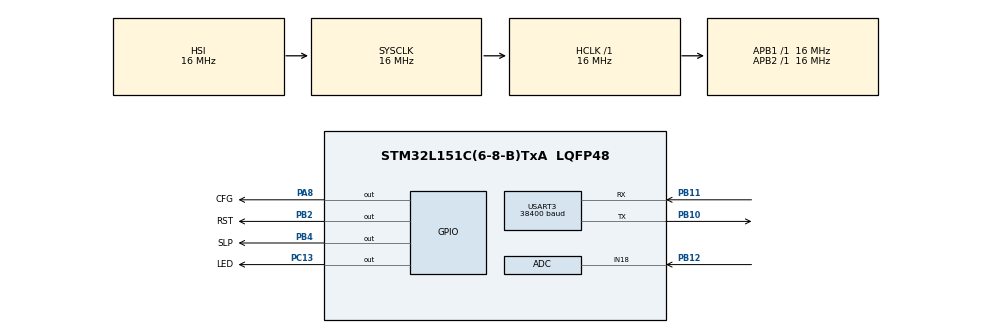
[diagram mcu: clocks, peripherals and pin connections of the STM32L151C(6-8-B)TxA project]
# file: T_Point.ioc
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ADC.Channel-0\#ChannelRegularConversion=ADC_CHANNEL_18
ADC.EOCSelection=ADC_EOC_SINGLE_CONV
ADC.NbrOfConversionFlag=1
ADC.Rank-0\#ChannelRegularConversion=1
ADC.SamplingTime-0\#ChannelRegularConversion=ADC_SAMPLETIME_384CYCLES
Dma.Request0=USART3_RX
Dma.Request1=USART3_TX
Dma.USART3_RX.0.Direction=DMA_PERIPH_TO_MEMORY
Dma.USART3_RX.0.Instance=DMA1_Channel3
Dma.USART3_RX.0.MemDataAlignment=DMA_MDATAALIGN_BYTE
Dma.USART3_RX.0.MemInc=DMA_MINC_ENABLE
Dma.USART3_RX.0.Mode=DMA_NORMAL
Dma.USART3_RX.0.PeriphDataAlignment=DMA_PDATAALIGN_BYTE
Dma.USART3_RX.0.PeriphInc=DMA_PINC_DISABLE
Dma.USART3_RX.0.Priority=DMA_PRIORITY_LOW
Dma.USART3_TX.1.Direction=DMA_MEMORY_TO_PERIPH
Dma.USART3_TX.1.Instance=DMA1_Channel2
Dma.USART3_TX.1.MemDataAlignment=DMA_MDATAALIGN_BYTE
Dma.USART3_TX.1.MemInc=DMA_MINC_ENABLE
Dma.USART3_TX.1.Mode=DMA_NORMAL
Dma.USART3_TX.1.PeriphDataAlignment=DMA_PDATAALIGN_BYTE
Dma.USART3_TX.1.PeriphInc=DMA_PINC_DISABLE
Dma.USART3_TX.1.Priority=DMA_PRIORITY_LOW
Mcu.Family=STM32L1
Mcu.Name=STM32L151C(6-8-B)TxA
Mcu.Package=LQFP48
NVIC.DMA1_Channel2_IRQn=true\:13\:0\:true\:false\:true\:false\:true\:true
NVIC.DMA1_Channel3_IRQn=true\:14\:0\:true\:false\:true\:false\:true\:true
NVIC.PriorityGroup=NVIC_PRIORITYGROUP_4
NVIC.RTC_WKUP_IRQn=true\:15\:0\:true\:false\:true\:true\:true\:true
NVIC.USART3_IRQn=true\:10\:0\:true\:false\:true\:false\:true\:true
PA13.Mode=Serial_Wire
PA13.Signal=SYS_JTMS-SWDIO
PA14.Mode=Serial_Wire
PA14.Signal=SYS_JTCK-SWCLK
PA8.GPIO_Label=CFG
PA8.PinState=GPIO_PIN_SET
PA8.Signal=GPIO_Output
PB10.Mode=Asynchronous
PB10.Signal=USART3_TX
PB11.Mode=Asynchronous
PB11.Signal=USART3_RX
PB12.Mode=IN18
PB12.Signal=ADC_IN18
PB2.GPIO_Label=RST
PB2.PinState=GPIO_PIN_RESET
PB2.Signal=GPIO_Output
PB4.GPIO_Label=SLP
PB4.PinState=GPIO_PIN_SET
PB4.Signal=GPIO_Output
PC13-WKUP2.GPIO_Label=LED
PC13-WKUP2.GPIO_ModeDefaultOutputPP=GPIO_MODE_OUTPUT_OD
PC13-WKUP2.GPIO_PuPd=GPIO_NOPULL
PC13-WKUP2.PinState=GPIO_PIN_RESET
PC13-WKUP2.Signal=GPIO_Output
PC14-OSC32_IN.Mode=LSE-External-Oscillator
PC14-OSC32_IN.Signal=RCC_OSC32_IN
PC15-OSC32_OUT.Mode=LSE-External-Oscillator
PC15-OSC32_OUT.Signal=RCC_OSC32_OUT
ProjectManager.HeapSize=0x200
ProjectManager.StackSize=0x400
ProjectManager.TargetToolchain=MDK-ARM V5.32
RCC.AHBFreq_Value=16000000
RCC.APB1Freq_Value=16000000
RCC.APB1TimFreq_Value=16000000
RCC.APB2Freq_Value=16000000
RCC.APB2TimFreq_Value=16000000
RCC.HCLKFreq_Value=16000000
RCC.HSE_VALUE=24000000
RCC.HSI_VALUE=16000000
RCC.MSI_VALUE=2097000
RCC.RTCClockSelection=RCC_RTCCLKSOURCE_LSE
RCC.RTCClockSelectionVirtual=RCC_RTCCLKSOURCE_LSE
RCC.SYSCLKFreq_VALUE=16000000
RCC.SYSCLKSource=RCC_SYSCLKSOURCE_HSI
RCC.VCOOutputFreq_Value=48000000
RTC.WakeUpClock-WakeUp=RTC_WAKEUPCLOCK_CK_SPRE_16BITS
RTC.WakeUpCounter-WakeUp=9
USART3.BaudRate=38400
USART3.VirtualMode=VM_ASYNC
VP_RTC_VS_RTC_Activate.Mode=RTC_Enabled
VP_RTC_VS_RTC_WakeUp_intern.Mode=WakeUp
board=custom

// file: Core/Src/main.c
/* USER CODE BEGIN Header */
/**
  ******************************************************************************
  * @file           : main.c
  * @brief          : Main program body
  ******************************************************************************
  * @attention
  *
  * Copyright (c) 2026 STMicroelectronics.
  * All rights reserved.
  *
  * This software is licensed under terms that can be found in the LICENSE file
  * in the root directory of this software component.
  * If no LICENSE file comes with this software, it is provided AS-IS.
  *
  ******************************************************************************
  */
/* USER CODE END Header */
#include "main.h"
#include "adc.h"
#include "dma.h"
#include "rtc.h"
#include "usart.h"
#include "gpio.h"

/* USER CODE BEGIN Includes */
#include "stop.h"
#include "zigbee.h"
/* USER CODE END Includes */

/* USER CODE BEGIN PD */
#define len 4
#define len_data 24
#define noDATA 0x10
#define sendDATA 0x11
#define lowPower 0x10
#define normal 0x11
/* USER CODE END PD */

/* USER CODE BEGIN PV */
//volatile uint16_t ADC_cnt=0;
//volatile uint16_t ADC_val=0;
uint8_t work_mode=normal;//0x10-lowpower,0x11-normal,swith by order
uint8_t work_data=sendDATA;
uint16_t Vbat=0;
uint32_t CNTsend=0;
//uint8_t buf_packLoader[4];
uint8_t buf_CMD[len]={0};
uint16_t CRC_res=0;
volatile uint8_t flag_CMD=RESET;
//0x24-帧头帧尾，work_data:0x10不需要数据包0x11需要，work_mode:0x10低功耗模式0x11正常工作
uint8_t heart_beat[len]={0x24,0x10,0x10,0x24};
uint8_t Data_pack[len_data]={
	netID | netPoint, pointADD,//节点地址
	0xFB,0xFB,0xFC,0xFC,//数据帧头
	0x01,
	0x00,0x00,//电池电量，电池电压mV
	0x01,
	0x00,0x00,0x00,0x00,//发送次数
	0x01,0x02,0x03,0x04,
	0x00,0x00,//CRC校验
	0xFE,0xFE,0xFF,0xFF//数据帧尾
};
uint8_t Send_pack[len_data];
/* USER CODE END PV */

void SystemClock_Config(void);
/* USER CODE BEGIN PFP */
void u16MOVu8(uint32_t data, uint8_t *pack, uint8_t pos);
void u32MOVu8(uint32_t data, uint8_t *pack, uint8_t pos);
/* USER CODE END PFP */

int main(void)
{

  /* MCU Configuration--------------------------------------------------------*/

  /* Reset of all peripherals, Initializes the Flash interface and the Systick. */
  HAL_Init();

  /* Configure the system clock */
  SystemClock_Config();

  /* Initialize all configured peripherals */
  MX_GPIO_Init();
  MX_DMA_Init();
  MX_RTC_Init();
  MX_USART3_UART_Init();
  MX_ADC_Init();
  /* USER CODE BEGIN 2 */
	Lp_Init();
	Zigbee_CFGinit(Terminal);
	HAL_Delay(1000);//烧录,联网延时
	//HAL_UART_Transmit_DMA(&huart3,(uint8_t *)"Link Start\n",11);
	//HAL_UART_Receive_DMA(&huart3,buf_CMD,len);//等待中心节点指令
	//__HAL_DMA_DISABLE_IT(&hdma_usart3_rx,DMA_IT_HT);
  /* USER CODE END 2 */

  /* Infinite loop */
  /* USER CODE BEGIN WHILE */
  while (1)
  {
		led_on;
		HAL_Delay(100);
		//HAL_Delay(1000);
		//---处理中心节点指令---
		if(flag_CMD==SET)
		{
			//---CMD JUDGE HERE---
				work_data=buf_CMD[1];
				work_mode=buf_CMD[2];
				if(work_data==noDATA)
				{
					work_mode=lowPower;
				}
				flag_CMD=RESET;
		}
		//---数据包数据处理和装填---
		if(work_data==sendDATA)
		{
			HAL_UART_Transmit_DMA(&huart3,Send_pack,len_data);//发送数据包
			Vbat=Battery_mV_Avg(8);//ADC获取电池电压
			CNTsend++;
			u32MOVu8(CNTsend,Data_pack,11);
			u16MOVu8(Vbat,Data_pack,8);
			CRC_res=CRC16_IBM_Byte(Data_pack,7,18);
			u16MOVu8(CRC_res,Data_pack,19);
			for(uint8_t i=0;i<len_data;i++)
			{
				Send_pack[i]=Data_pack[i];
			}
		}
		//---低功耗模式进入和正常模式发送间隔---
		if(work_mode==lowPower)
		{
			Lp_STOPenter();
			//---STOP HERE---
			Lp_STOPexit();
			HAL_Delay(300);//苏醒后联网
			HAL_UART_Receive_DMA(&huart3,buf_CMD,len);//等待中心节点指令
			heart_beat[1]=work_data;
			heart_beat[2]=work_mode;
			HAL_UART_Transmit_DMA(&huart3,heart_beat,len);//发送心跳包
			while (huart3.gState != HAL_UART_STATE_READY) {}
			HAL_UART_Transmit_DMA(&huart3,Data_pack,len_data);//发送数据包
      while (huart3.gState != HAL_UART_STATE_READY) {}//等待数据包发送
		}
		else if(work_mode==normal)
		{
			HAL_UART_Receive_DMA(&huart3,buf_CMD,len);//等待中心节点指令
			for(uint8_t i=0;i<5;i++)
			{
				led_on;
				HAL_Delay(500);
				led_off;
				HAL_Delay(500);
			}
		}
    /* USER CODE END WHILE */

  }
}

void SystemClock_Config(void)
{
  RCC_OscInitTypeDef RCC_OscInitStruct = {0};
  RCC_ClkInitTypeDef RCC_ClkInitStruct = {0};
  RCC_PeriphCLKInitTypeDef PeriphClkInit = {0};

  /** Configure the main internal regulator output voltage
  */
  __HAL_PWR_VOLTAGESCALING_CONFIG(PWR_REGULATOR_VOLTAGE_SCALE1);

  /** Initializes the RCC Oscillators according to the specified parameters
  * in the RCC_OscInitTypeDef structure.
  */
  RCC_OscInitStruct.OscillatorType = RCC_OSCILLATORTYPE_HSI|RCC_OSCILLATORTYPE_LSE;
  RCC_OscInitStruct.LSEState = RCC_LSE_ON;
  RCC_OscInitStruct.HSIState = RCC_HSI_ON;
  RCC_OscInitStruct.HSICalibrationValue = RCC_HSICALIBRATION_DEFAULT;
  RCC_OscInitStruct.PLL.PLLState = RCC_PLL_NONE;
  if (HAL_RCC_OscConfig(&RCC_OscInitStruct) != HAL_OK)
  {
    Error_Handler();
  }

  /** Initializes the CPU, AHB and APB buses clocks
  */
  RCC_ClkInitStruct.ClockType = RCC_CLOCKTYPE_HCLK|RCC_CLOCKTYPE_SYSCLK
                              |RCC_CLOCKTYPE_PCLK1|RCC_CLOCKTYPE_PCLK2;
  RCC_ClkInitStruct.SYSCLKSource = RCC_SYSCLKSOURCE_HSI;
  RCC_ClkInitStruct.AHBCLKDivider = RCC_SYSCLK_DIV1;
  RCC_ClkInitStruct.APB1CLKDivider = RCC_HCLK_DIV1;
  RCC_ClkInitStruct.APB2CLKDivider = RCC_HCLK_DIV1;

  if (HAL_RCC_ClockConfig(&RCC_ClkInitStruct, FLASH_LATENCY_0) != HAL_OK)
  {
    Error_Handler();
  }
  PeriphClkInit.PeriphClockSelection = RCC_PERIPHCLK_RTC;
  PeriphClkInit.RTCClockSelection = RCC_RTCCLKSOURCE_LSE;
  if (HAL_RCCEx_PeriphCLKConfig(&PeriphClkInit) != HAL_OK)
  {
    Error_Handler();
  }
}

/* USER CODE BEGIN 4 */
void HAL_UART_RxCpltCallback(UART_HandleTypeDef *huart)
{
	if(huart->Instance==USART3)
	{
		HAL_UART_Receive_DMA(&huart3,buf_CMD,len);//再次接受中心节点指令
		flag_CMD=SET;
	}
}

void u32MOVu8(uint32_t data, uint8_t *pack, uint8_t pos)
{
    pos--;
    for (uint8_t i = 0, j = 3; i < 4; i++, j--)
    {
        pack[pos + i] = (uint8_t)(data >> 8 * j);
    }
}
void u16MOVu8(uint32_t data, uint8_t *pack, uint8_t pos)
{
    pos--;
    pack[pos] = (uint8_t)(data >> 8);
    pack[pos + 1] = (uint8_t)(data & 0x00FF);
}
/* USER CODE END 4 */

void Error_Handler(void)
{
  __disable_irq();
  while (1)
  {
  }
}
